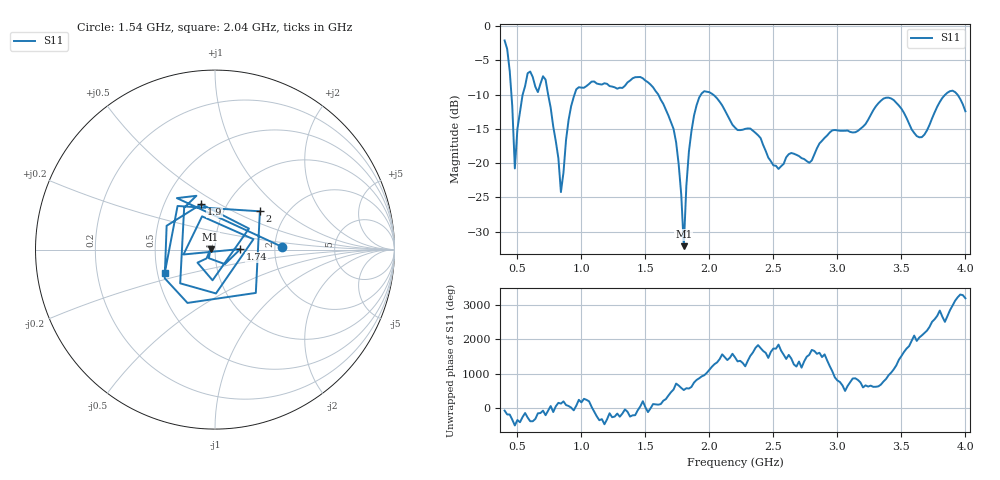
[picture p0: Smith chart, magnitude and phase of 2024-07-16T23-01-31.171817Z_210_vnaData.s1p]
!Created with skrf (http://scikit-rf.org).
# Hz S RI R 50.0
!freq ReS11 ImS11
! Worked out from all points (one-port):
!   181 points, 400 MHz to 4 GHz, reference 50 ohm
!   lowest |S11| = -32.1 dB at 1.8 GHz (marker M1), VSWR 1.05, Z = 47.6 + j0.28 ohm
!   |S11| at or under -10 dB: 739.9 MHz to 946.3 MHz (206.4 MHz wide, 24.5 % of centre); 1.601 GHz to 1.935 GHz (333.9 MHz wide, 18.9 % of centre); 2.028 GHz to 3.844 GHz (1.816 GHz wide, 61.9 % of centre) (the widest 3 of 5)
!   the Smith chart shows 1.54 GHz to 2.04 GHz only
!   S11 on the Smith chart (normalised r, x): 1.54 GHz: 2.19, +0.08; 1.74 GHz: 1.33, +0.01; 1.9 GHz: 0.76, +0.41; 2 GHz: 1.47, +0.70; 2.04 GHz: 0.55, -0.16
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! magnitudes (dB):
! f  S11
! 400 MHz  -2.1
! 440 MHz  -6.6
! 480 MHz  -20.8
! 540 MHz  -10.1
! 600 MHz  -6.7
! 720 MHz  -7.8
! 840 MHz  -24.2
! 860 MHz  -21.4
! 900 MHz  -13.7
! 960 MHz  -9.2
! 1.3 GHz  -9.0
! 1.54 GHz  -8.5
! 1.74 GHz  -17.0
! 1.76 GHz  -20.2
! 1.8 GHz  -32.1
! 1.84 GHz  -18.3
! 1.9 GHz  -11.6
! 2 GHz  -9.7
! 2.04 GHz  -10.2
! 2.2 GHz  -14.8
! 2.54 GHz  -20.8
! 2.66 GHz  -18.6
! 3.1 GHz  -15.5
! 3.38 GHz  -10.5
! 3.56 GHz  -14.2
! 3.66 GHz  -16.2
! 3.88 GHz  -9.5
! 4 GHz  -12.4
